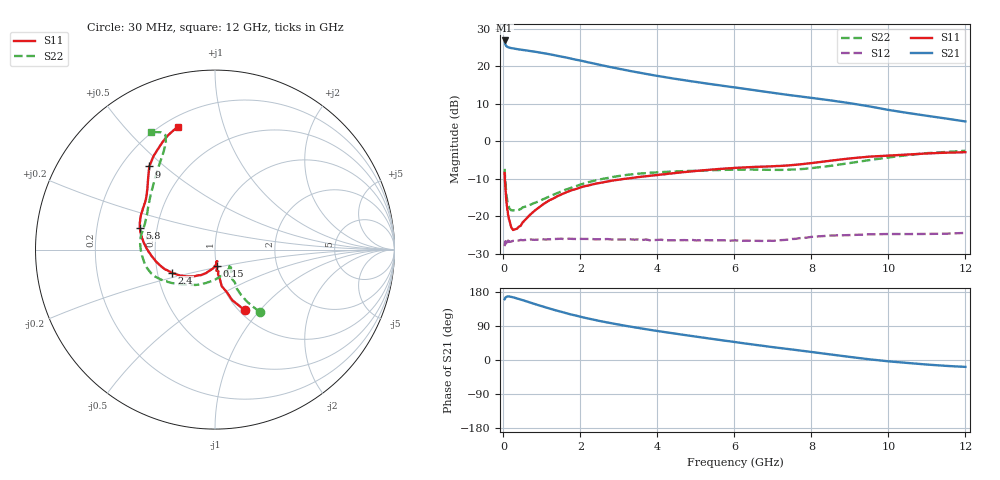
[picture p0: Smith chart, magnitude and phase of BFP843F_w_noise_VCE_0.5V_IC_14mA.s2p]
! Infineon Technologies  Discrete & RF Semiconductors
! BFP843F
! VCE =  0.5 V,  IC =  14 mA
! Common Emitter S-Parameters:  Aug 2013
# GHz  S  MA  R  50
!  f  S11  S21  S12  S22
! GHz  MAG  ANG  MAG  ANG  MAG  ANG  MAG  ANG
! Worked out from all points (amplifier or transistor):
!   103 points, 30 MHz to 12 GHz, reference 50 ohm
!   highest |S21| = 26.9 dB at 30 MHz (marker M1)
!   |S21| within 3 dB of that: start of sweep to 815.9 MHz
!   unconditionally stable (mu >= 1): 150 MHz to 669.2 MHz; 2.489 GHz to end of sweep
!   at 400 MHz: K = 1.01, MAG = 24.9 dB, |S12| = -26.5 dB
!   at 3.7 GHz: K = 1.09, MAG = 20.2 dB, |S12| = -26.2 dB
!   at 12 GHz: K = 1.37, MAG = 11.2 dB, |S12| = -24.4 dB
!   lowest NFmin = 0.84 dB at 450 MHz
!   S11 on the Smith chart (normalised r, x): 30 MHz: 1.06, -0.84; 150 MHz: 1.00, -0.18; 2.4 GHz: 0.60, -0.17; 5.8 GHz: 0.40, +0.12; 9 GHz: 0.31, +0.45; 12 GHz: 0.25, +0.71
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0.03  0.3775 -63.8  22.05 160.3  0.04 29.0  0.4287 -54.4
0.04  0.2978 -71.2  20.49 161.6  0.0447 21.3  0.343 -58.3
0.05  0.2512 -74.0  19.51 164.5  0.0464 17.8  0.2891 -60.2
0.07  0.1728 -80.4  18.64 166.3  0.0435 14.0  0.2134 -58.8
0.11  0.1182 -86.2  18.06 167.7  0.0446 10.8  0.1519 -54.0
0.15  0.0899 -84.5  17.74 167.7  0.0457 7.9  0.1273 -48.9
0.8  0.1175 -102.5  15.65 148.2  0.0486 3.5  0.1505 -75.5
1.1  0.1526 -115.6  14.74 138.8  0.0491 2.8  0.175 -95.0
1.3  0.173 -124.0  14.11 132.7  0.0498 2.4  0.1942 -105.8
1.6  0.2054 -133.2  13.15 124.4  0.0495 2.3  0.225 -118.9
2.1  0.251 -146.0  11.59 111.7  0.05 1.2  0.2743 -135.4
2.4  0.2725 -151.4  10.73 105.2  0.0492 1.2  0.3023 -141.8
3.2  0.3179 -163.9  8.826 89.7  0.0492 0.7  0.3562 -153.7
4.1  0.3609 -175.8  7.293 75.0  0.0488 1.3  0.3878 -163.3
5  0.4023 173.5  6.178 61.7  0.0477 2.4  0.4047 -173.1
5.8  0.435 164.2  5.398 50.3  0.0478 4.4  0.4163 177.8
6.1  0.4442 160.7  5.142 46.1  0.0476 5.2  0.4182 174.3
7.1  0.4677 147.4  4.347 32.6  0.0475 9.2  0.4158 162.0
8.5  0.5512 132.4  3.504 14.6  0.0554 11.0  0.4705 139.7
9  0.5906 128.3  3.217 8.1  0.0562 9.4  0.5128 131.1
10.5  0.6654 116.2  2.384 -7.8  0.058 9.1  0.6539 114.7
12  0.7145 106.7  1.836 -18.2  0.0601 11.9  0.7467 118.7
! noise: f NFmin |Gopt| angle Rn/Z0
0.45  0.84  0.01  87  0.03
0.9  0.84  0.02  98  0.04
1.5  0.87  0.03  107  0.05
1.9  0.92  0.04  119  0.05
2.4  0.96  0.05  136  0.07
3.5  1.01  0.08  154  0.12
5.5  1.11  0.17  -161  0.2
10  1.66  0.36  -110  0.3
